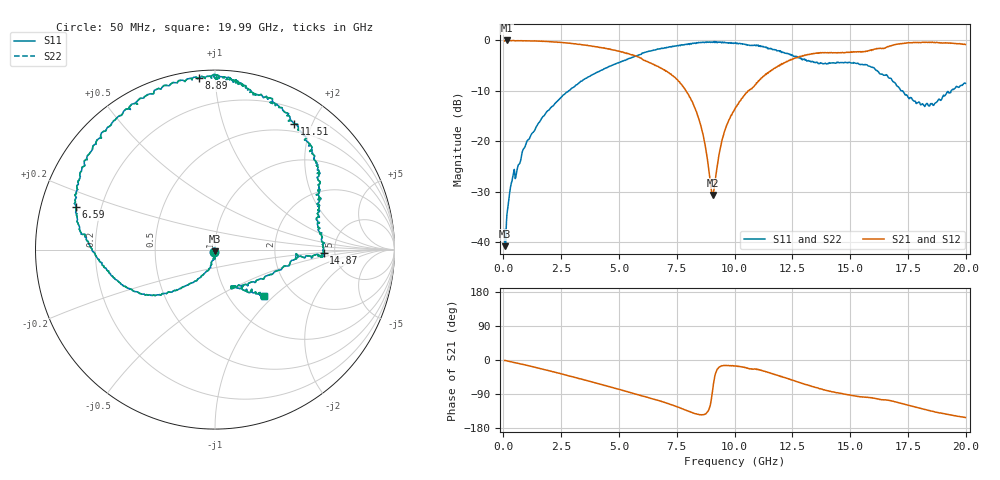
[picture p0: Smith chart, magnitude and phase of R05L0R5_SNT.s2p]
! 250R05L0R5CV4
! Data taken January 31, 2003
! Data taken on a HP 8720C VNA using a shunt-through test fixture and TRL* de-embedding
#	mhz	s	ma	r	50
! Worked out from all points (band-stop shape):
!   998 points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, 50 MHz to 19.99 GHz, reference 50 ohm
!   highest |S21| = 0.00 dB at 150 MHz (marker M1); lowest = -30.6 dB at 9.05 GHz (marker M2)
!   |S21| within 3 dB of the highest: start of sweep to 5.676 GHz; 13 GHz to end of sweep
!   lowest |S11| = -40.8 dB at 70 MHz (marker M3), VSWR 1.02, Z = 49.8 - j0.895 ohm
!   |S11| at or under -10 dB: start of sweep to 2.814 GHz; 17.28 GHz to 19.38 GHz (2.099 GHz wide, 11.5 % of centre)
!   |S22| runs from -40.8 to -0.2 dB; largest |S21 - S12| = 0
!   S11 on the Smith chart (normalised r, x): 50 MHz: 0.99, -0.02; 6.59 GHz: 0.11, +0.15; 8.89 GHz: 0.04, +0.91; 11.51 GHz: 0.39, +1.74; 14.87 GHz: 4.06, -0.22; 19.99 GHz: 1.44, -0.87
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50  0.01337 -109.6  0.9885 -1.2  0.9885 -1.2  0.01337 -109.6
70  0.00915 -100.9  0.9957 -1.3  0.9957 -1.3  0.00915 -100.9
150  0.01878 -89.4  1 -2.4  1 -2.4  0.01878 -89.4
390  0.04268 -90.5  0.9973 -5.7  0.9973 -5.7  0.04268 -90.5
1010  0.09971 -104.7  0.9915 -14.0  0.9915 -14.0  0.09971 -104.7
3390  0.3953 -140.6  0.9067 -50.6  0.9067 -50.6  0.3953 -140.6
4930  0.5982 -166.4  0.7884 -76.5  0.7884 -76.5  0.5982 -166.4
6590  0.8097 163.1  0.5658 -104.9  0.5658 -104.9  0.8097 163.1
6710  0.8211 161.3  0.5483 -106.8  0.5483 -106.8  0.8211 161.3
7470  0.8814 141.3  0.4188 -122.6  0.4188 -122.6  0.8814 141.3
8150  0.9312 118.2  0.2519 -138.0  0.2519 -138.0  0.9312 118.2
8590  0.953 102.7  0.1286 -144.8  0.1286 -144.8  0.953 102.7
8890  0.9603 95.2  0.05166 -130.7  0.05166 -130.7  0.9603 95.2
9050  0.956 91.1  0.02941 -80.9  0.02941 -80.9  0.956 91.1
9490  0.9603 85.0  0.1089 -15.4  0.1089 -15.4  0.9603 85.0
10030  0.9397 82.1  0.2121 -15.6  0.2121 -15.6  0.9397 82.1
11510  0.8273 57.9  0.4891 -33.8  0.4891 -33.8  0.8273 57.9
13350  0.6217 20.2  0.7387 -70.1  0.7387 -70.1  0.6217 20.2
14870  0.6058 -1.6  0.7643 -91.3  0.7643 -91.3  0.6058 -1.6
16670  0.4261 -9.1  0.8695 -106.4  0.8695 -106.4  0.4261 -9.1
18230  0.2216 -66.1  0.9551 -130.8  0.9551 -130.8  0.2216 -66.1
19990  0.3755 -43.8  0.9121 -151.7  0.9121 -151.7  0.3755 -43.8
